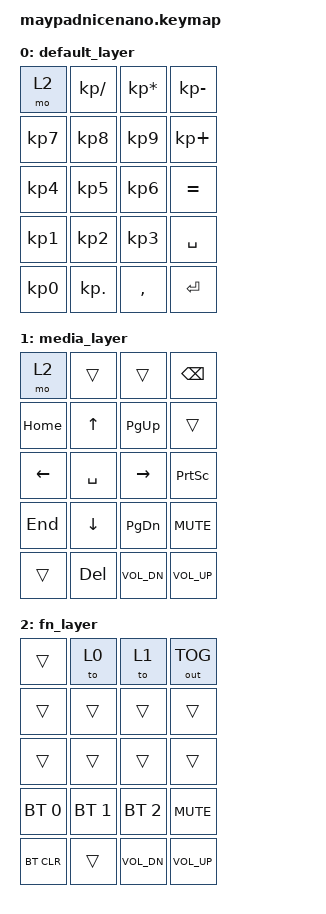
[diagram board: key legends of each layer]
#include <behaviors.dtsi>
#include <dt-bindings/zmk/bt.h>
#include <dt-bindings/zmk/keys.h>
#include <dt-bindings/zmk/outputs.h>

/ {
    keymap {
        compatible = "zmk,keymap";

// ---------------------------------------------
// | FN    | KP_SLASH | KP_ASTERISK | KP_MINUS |
// | KP_N7 | KP_N8    | KP_N9       | KP_PLUS  |
// | KP_N4 | KP_N5    | KP_N6       | KP_EQUAL |
// | KP_N1 | KP_N2    | KP_N3       | SPACE    |
// | KP_N0 | KP_DOT   | KP_COMMA    | ENTER    |
// ---------------------------------------------

        default_layer {
            bindings = <
    &mo 2     &kp KP_SLASH &kp KP_ASTERISK &kp KP_MINUS    
    &kp KP_N7 &kp KP_N8    &kp KP_N9       &kp KP_PLUS    
    &kp KP_N4 &kp KP_N5    &kp KP_N6       &kp EQUAL     
    &kp KP_N1 &kp KP_N2    &kp KP_N3       &kp SPACE
    &kp KP_N0 &kp KP_DOT   &kp COMMA       &kp ENTER     
            >;
        };

// -----------------------------------------
// |BTLayer|        |           |  BKSPC   |
// | HOME  |  UP    |  PG UP    |          |
// | LEFT  |  SPACE |  RIGHT    |  PRTSCR  |
// | END   |  DOWN  |  PG DN    |  MUTE    |
// |       |  DEL   |  VOL -    |  VOL +   |
// -----------------------------------------

        media_layer {
            bindings = <
    &mo 2        &trans        &trans       &kp BACKSPACE           
    &kp HOME     &kp UP        &kp PG_UP    &trans        
    &kp LEFT     &kp SPACE     &kp RIGHT    &kp PRINTSCREEN     
    &kp END      &kp DOWN      &kp PG_DN    &kp C_MUTE     
    &trans       &kp DEL       &kp C_VOL_DN &kp C_VOL_UP
            >;
        };

// --------------------------------------
// |       |        |         | OUT TOG |
// |       |        |         |         |
// |       |        |         |         |
// | BT-0  | BT-1   | BT-2    | MUTE    |
// | BT CLR|        | VOL -   | VOL +   |
// --------------------------------------

        fn_layer {
            bindings = <
    &trans       &to 0         &to 1       &out OUT_TOG  
    &trans       &trans        &trans       &trans    
    &trans       &trans        &trans       &trans     
    &bt BT_SEL 0 &bt BT_SEL 1  &bt BT_SEL 2 &kp C_MUTE     
    &bt BT_CLR   &trans        &kp C_VOL_DN &kp C_VOL_UP
            >;
        };

    };
};

